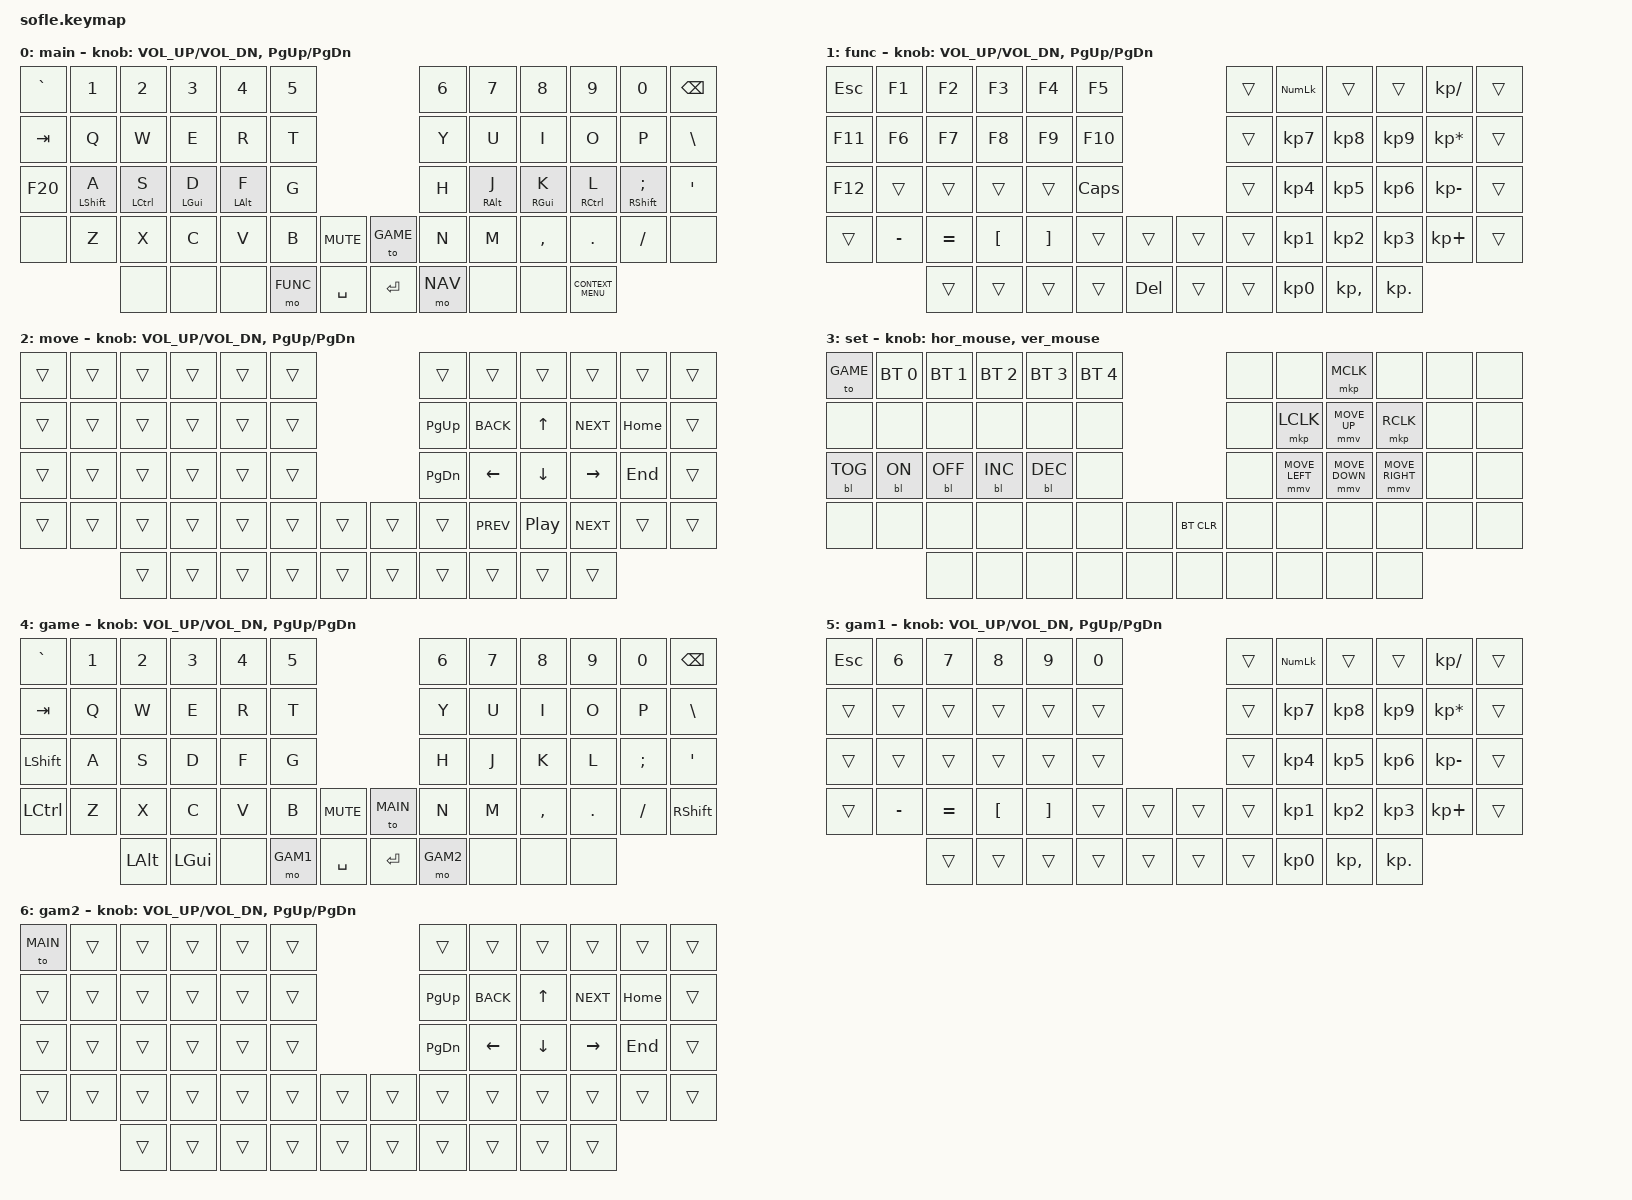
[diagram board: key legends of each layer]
/*
 * Copyright (c) 2020 The ZMK Contributors
 *
 * SPDX-License-Identifier: MIT
 */

#include <behaviors.dtsi>
#include <dt-bindings/zmk/keys.h>
#include <dt-bindings/zmk/bt.h>
#include <dt-bindings/zmk/rgb.h>
#include <dt-bindings/zmk/ext_power.h>
#include <dt-bindings/zmk/pointing.h>
#include <dt-bindings/zmk/backlight.h>

#define MAIN 0
#define FUNC 1
#define NAV 2
#define SET 3
#define GAME 4
#define GAM1 5
#define GAM2 6

#define RIGHT_KEYS 6 7 8 9 10 11 /**/ 18 19 20 21 22 23 /**/ 30 31 32 33 34 35 /**/ 43 44 45 46 47 48 49 /**/ 55 56 57 58 59
#define LEFT_KEYS 0 1 2 3 4 5 /**/ 12 13 14 15 16 17 /**/ 24 25 26 27 28 29 /**/ 36 37 38 39 40 41 42 /**/ 50 51 52 53 54
/ {

   // Activate ADJUST layer by pressing raise and lower
    conditional_layers {
        compatible = "zmk,conditional-layers";
        set_layer {
            if-layers = <FUNC NAV>;
            then-layer = <SET>;
        };
    };

    behaviors {
        hor_mouse: hor_mouse {
            compatible = "zmk,behavior-sensor-rotate";
            #sensor-binding-cells = <0>;
            bindings = <&mmv MOVE_LEFT>, <&mmv MOVE_RIGHT>;
        };
        ver_mouse: ver_mouse {
            compatible = "zmk,behavior-sensor-rotate";
            #sensor-binding-cells = <0>;
            bindings = <&mmv MOVE_DOWN>, <&mmv MOVE_UP>;
        };
        hml: home_row_mod_left {
            compatible = "zmk,behavior-hold-tap";
            #binding-cells = <2>;
            flavor = "balanced";
            require-prior-idle-ms = <150>;
            tapping-term-ms = <280>;
            quick-tap-ms = <175>;
            bindings = <&kp>, <&kp>;
            hold-trigger-key-positions = < RIGHT_KEYS >; // List of keys on the right side of the keyboard
            hold-trigger-on-release;
        };
        hmr: home_row_mod_right {
            compatible = "zmk,behavior-hold-tap";
            #binding-cells = <2>;
            flavor = "balanced";
            require-prior-idle-ms = <150>;
            tapping-term-ms = <280>;
            quick-tap-ms = <175>;
            bindings = <&kp>, <&kp>;
            hold-trigger-key-positions = < LEFT_KEYS >; // List of keys on the left side of the keyboard
            hold-trigger-on-release;
        };
    };

    keymap {
        compatible = "zmk,keymap";

        main_layer {
            display-name = "main";
            bindings = <
/*|---------------|---------------|---------------|---------------|---------------|---------------|               |               |---------------|---------------|---------------|---------------|---------------|---------------|*/
   &kp GRAVE       &kp N1          &kp N2          &kp N3          &kp N4          &kp N5                                          &kp N6          &kp N7          &kp N8          &kp N9          &kp N0          &kp BSPC
/*|---------------|---------------|---------------|---------------|---------------|---------------|               |               |---------------|---------------|---------------|---------------|---------------|---------------|*/
   &kp TAB         &kp Q           &kp W           &kp E           &kp R           &kp T                                           &kp Y           &kp U           &kp I           &kp O           &kp P           &kp BSLH
/*|---------------|---------------|---------------|---------------|---------------|---------------|               |               |---------------|---------------|---------------|---------------|---------------|---------------|*/
   &kp F20         &hml LSHFT A    &hml LCTRL S    &hml LGUI D     &hml LALT F     &kp G                                           &kp H           &hmr RALT J     &hmr RGUI K     &hmr RCTRL L    &hmr RSHFT SEMI &kp SQT
/*|---------------|---------------|---------------|---------------|---------------|---------------|---------------|---------------|---------------|---------------|---------------|---------------|---------------|---------------|*/
   &none           &kp Z           &kp X           &kp C           &kp V           &kp B           &kp C_MUTE      &to GAME        &kp N           &kp M           &kp COMMA       &kp DOT         &kp FSLH        &none   
/*|               |               |---------------|---------------|---------------|---------------|---------------|---------------|---------------|---------------|---------------|---------------|               |               |*/
                                   &none           &none           &none           &mo FUNC        &kp SPACE       &kp RET         &mo NAV         &none          &none            &kp K_CONTEXT_MENU
            >;

            sensor-bindings = <&inc_dec_kp C_VOL_UP C_VOL_DN &inc_dec_kp PG_UP PG_DN>;
        };

        func_layer {
            display-name = "func";
            bindings = <
/*|---------------|---------------|---------------|---------------|---------------|---------------|               |               |---------------|---------------|---------------|---------------|---------------|---------------|*/
   &kp ESC         &kp F1          &kp F2          &kp F3          &kp F4          &kp F5                                          &trans          &kp KP_NLCK     &trans          &trans          &kp KP_DIVIDE   &trans    
/*|---------------|---------------|---------------|---------------|---------------|---------------|               |               |---------------|---------------|---------------|---------------|---------------|---------------|*/
   &kp F11         &kp F6          &kp F7          &kp F8          &kp F9          &kp F10                                         &trans          &kp KP_N7       &kp KP_N8       &kp KP_N9       &kp KP_MULTIPLY &trans
/*|---------------|---------------|---------------|---------------|---------------|---------------|               |               |---------------|---------------|---------------|---------------|---------------|---------------|*/
   &kp F12         &trans          &trans          &trans          &trans          &kp CLCK                                        &trans          &kp KP_N4       &kp KP_N5       &kp KP_N6       &kp KP_MINUS    &trans
/*|---------------|---------------|---------------|---------------|---------------|---------------|---------------|---------------|---------------|---------------|---------------|---------------|---------------|---------------|*/
   &trans          &kp MINUS       &kp EQUAL       &kp LBKT        &kp RBKT        &trans          &trans          &trans          &trans          &kp KP_N1       &kp KP_N2       &kp KP_N3       &kp KP_PLUS     &trans
/*|               |               |---------------|---------------|---------------|---------------|---------------|---------------|---------------|---------------|---------------|---------------|               |               |*/
                                   &trans          &trans          &trans          &trans          &kp DEL         &trans          &trans          &kp KP_N0       &kp KP_COMMA    &kp KP_DOT 
            >;

            sensor-bindings = <&inc_dec_kp C_VOL_UP C_VOL_DN &inc_dec_kp PG_UP PG_DN>;
        };

        move_layer {
            display-name = "move";
            bindings = <
/*|---------------|---------------|---------------|---------------|---------------|---------------|               |               |---------------|---------------|---------------|---------------|---------------|---------------|*/
   &trans          &trans          &trans          &trans          &trans          &trans                                          &trans          &trans          &trans          &trans          &trans          &trans
/*|---------------|---------------|---------------|---------------|---------------|---------------|               |               |---------------|---------------|---------------|---------------|---------------|---------------|*/
   &trans          &trans          &trans          &trans          &trans          &trans                                          &kp PG_UP       &kp K_BACK      &kp UP          &kp K_NEXT      &kp HOME        &trans
/*|---------------|---------------|---------------|---------------|---------------|---------------|               |               |---------------|---------------|---------------|---------------|---------------|---------------|*/
   &trans          &trans          &trans          &trans          &trans          &trans                                          &kp PG_DN       &kp LEFT        &kp DOWN        &kp RIGHT       &kp END         &trans
/*|---------------|---------------|---------------|---------------|---------------|---------------|---------------|---------------|---------------|---------------|---------------|---------------|---------------|---------------|*/
   &trans          &trans          &trans          &trans          &trans          &trans          &trans          &trans          &trans          &kp C_PREV       &kp C_PLAY_PAUSE &kp C_NEXT    &trans          &trans
/*|               |               |---------------|---------------|---------------|---------------|---------------|---------------|---------------|---------------|---------------|---------------|               |               |*/
                                   &trans          &trans          &trans          &trans          &trans          &trans          &trans          &trans          &trans           &trans
            >;

            sensor-bindings = <&inc_dec_kp C_VOL_UP C_VOL_DN &inc_dec_kp PG_UP PG_DN>;
        };

        set_layer {
            display-name = "set";
            bindings = <
/*|---------------|---------------|---------------|---------------|---------------|---------------|               |               |---------------|---------------|---------------|---------------|---------------|---------------|*/
   &to GAME        &bt BT_SEL 0    &bt BT_SEL 1    &bt BT_SEL 2    &bt BT_SEL 3    &bt BT_SEL 4                                    &none           &none           &mkp MCLK       &none           &none           &none
/*|---------------|---------------|---------------|---------------|---------------|---------------|               |               |---------------|---------------|---------------|---------------|---------------|---------------|*/
   &none           &none           &none           &none           &none           &none                                           &none           &mkp LCLK       &mmv MOVE_UP    &mkp RCLK       &none           &none
/*|---------------|---------------|---------------|---------------|---------------|---------------|               |               |---------------|---------------|---------------|---------------|---------------|---------------|*/
   &bl BL_TOG      &bl BL_ON       &bl BL_OFF      &bl BL_INC      &bl BL_DEC      &none                                           &none           &mmv MOVE_LEFT  &mmv MOVE_DOWN  &mmv MOVE_RIGHT &none           &none
/*|---------------|---------------|---------------|---------------|---------------|---------------|---------------|---------------|---------------|---------------|---------------|---------------|---------------|---------------|*/
   &none           &none           &none           &none           &none           &none           &none           &bt BT_CLR      &none           &none           &none           &none           &none           &none
/*|               |               |---------------|---------------|---------------|---------------|---------------|---------------|---------------|---------------|---------------|---------------|               |               |*/
                                   &none           &none           &none           &none           &none           &none           &none           &none           &none           &none
            >;
            sensor-bindings = <&hor_mouse &ver_mouse>;
        };

       game_layer {
           display-name = "game";
           bindings = <
/*|---------------|---------------|---------------|---------------|---------------|---------------|               |               |---------------|---------------|---------------|---------------|---------------|---------------|*/
   &kp GRAVE       &kp N1          &kp N2          &kp N3          &kp N4          &kp N5                                          &kp N6          &kp N7          &kp N8          &kp N9          &kp N0          &kp BSPC
/*|---------------|---------------|---------------|---------------|---------------|---------------|               |               |---------------|---------------|---------------|---------------|---------------|---------------|*/
   &kp TAB         &kp Q           &kp W           &kp E           &kp R           &kp T                                           &kp Y           &kp U           &kp I           &kp O           &kp P           &kp BSLH
/*|---------------|---------------|---------------|---------------|---------------|---------------|               |               |---------------|---------------|---------------|---------------|---------------|---------------|*/
   &kp LSHFT       &kp A           &kp S           &kp D           &kp F           &kp G                                           &kp H           &kp J           &kp K           &kp L           &kp SEMI        &kp SQT
/*|---------------|---------------|---------------|---------------|---------------|---------------|---------------|---------------|---------------|---------------|---------------|---------------|---------------|---------------|*/
   &kp LCTRL       &kp Z           &kp X           &kp C           &kp V           &kp B           &kp C_MUTE      &to MAIN        &kp N           &kp M           &kp COMMA       &kp DOT         &kp FSLH        &kp RSHFT  
/*|               |               |---------------|---------------|---------------|---------------|---------------|---------------|---------------|---------------|---------------|---------------|               |               |*/
                                   &kp LALT        &kp LGUI        &none           &mo GAM1        &kp SPACE       &kp RET         &mo GAM2        &none           &none           &none
           >;
           sensor-bindings = <&inc_dec_kp C_VOL_UP C_VOL_DN &inc_dec_kp PG_UP PG_DN>;
       };

       gam1_layer {
           display-name = "gam1";
           bindings = <
/*|---------------|---------------|---------------|---------------|---------------|---------------|               |               |---------------|---------------|---------------|---------------|---------------|---------------|*/
  &kp ESC         &kp N6          &kp N7          &kp N8          &kp N9          &kp N0                                          &trans          &kp KP_NLCK     &trans          &trans          &kp KP_DIVIDE   &trans    
/*|---------------|---------------|---------------|---------------|---------------|---------------|               |               |---------------|---------------|---------------|---------------|---------------|---------------|*/
  &trans          &trans          &trans          &trans          &trans          &trans                                          &trans          &kp KP_N7       &kp KP_N8       &kp KP_N9       &kp KP_MULTIPLY &trans
/*|---------------|---------------|---------------|---------------|---------------|---------------|               |               |---------------|---------------|---------------|---------------|---------------|---------------|*/
  &trans          &trans          &trans          &trans          &trans          &trans                                          &trans          &kp KP_N4       &kp KP_N5       &kp KP_N6       &kp KP_MINUS    &trans
/*|---------------|---------------|---------------|---------------|---------------|---------------|---------------|---------------|---------------|---------------|---------------|---------------|---------------|---------------|*/
  &trans          &kp MINUS       &kp EQUAL       &kp LBKT        &kp RBKT        &trans          &trans          &trans          &trans          &kp KP_N1       &kp KP_N2       &kp KP_N3       &kp KP_PLUS     &trans
/*|               |               |---------------|---------------|---------------|---------------|---------------|---------------|---------------|---------------|---------------|---------------|               |               |*/
                                  &trans          &trans          &trans          &trans          &trans          &trans          &trans          &kp KP_N0       &kp KP_COMMA    &kp KP_DOT 
           >;
           sensor-bindings = <&inc_dec_kp C_VOL_UP C_VOL_DN &inc_dec_kp PG_UP PG_DN>;
       };

       gam2_layer {
           display-name = "gam2";
           bindings = <
/*|---------------|---------------|---------------|---------------|---------------|---------------|               |               |---------------|---------------|---------------|---------------|---------------|---------------|*/
  &to MAIN        &trans          &trans          &trans          &trans          &trans                                          &trans          &trans          &trans          &trans          &trans          &trans
/*|---------------|---------------|---------------|---------------|---------------|---------------|               |               |---------------|---------------|---------------|---------------|---------------|---------------|*/
  &trans          &trans          &trans          &trans          &trans          &trans                                          &kp PG_UP       &kp K_BACK      &kp UP          &kp K_NEXT      &kp HOME        &trans
/*|---------------|---------------|---------------|---------------|---------------|---------------|               |               |---------------|---------------|---------------|---------------|---------------|---------------|*/
  &trans          &trans          &trans          &trans          &trans          &trans                                          &kp PG_DN       &kp LEFT        &kp DOWN        &kp RIGHT       &kp END         &trans
/*|---------------|---------------|---------------|---------------|---------------|---------------|---------------|---------------|---------------|---------------|---------------|---------------|---------------|---------------|*/
  &trans          &trans          &trans          &trans          &trans          &trans          &trans          &trans          &trans          &trans          &trans          &trans          &trans          &trans
/*|               |               |---------------|---------------|---------------|---------------|---------------|---------------|---------------|---------------|---------------|---------------|               |               |*/
                                  &trans          &trans          &trans          &trans          &trans          &trans          &trans          &trans          &trans          &trans
           >;

           sensor-bindings = <&inc_dec_kp C_VOL_UP C_VOL_DN &inc_dec_kp PG_UP PG_DN>;
      };
   };
};
